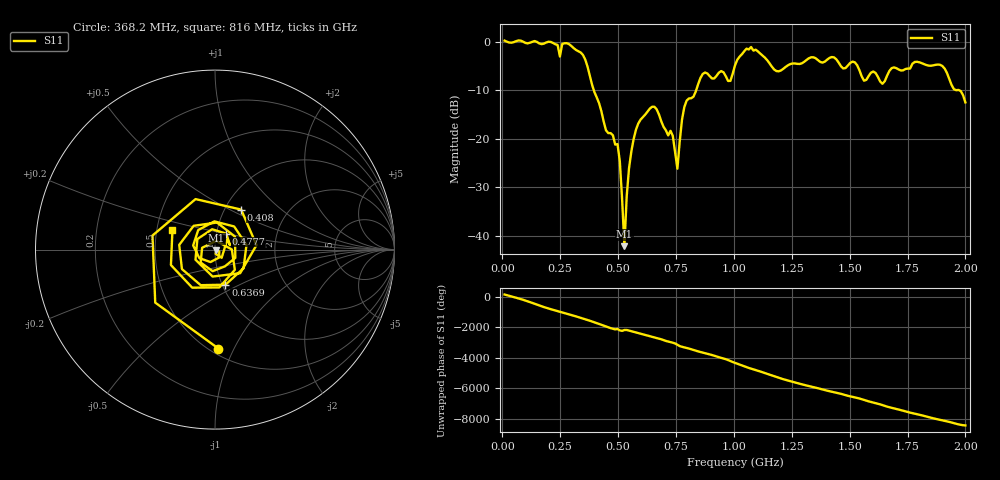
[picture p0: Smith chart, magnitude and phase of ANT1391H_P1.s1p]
!Created with skrf (http://scikit-rf.org).
# Hz S RI R 50.0
!freq ReS11 ImS11
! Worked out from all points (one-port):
!   201 points, 10 MHz to 2 GHz, reference 50 ohm
!   lowest |S11| = -42.1 dB at 527.4 MHz (marker M1), VSWR 1.02, Z = 50.7 - j0.349 ohm
!   |S11| at or under -10 dB: 395.2 MHz to 837.4 MHz (442.2 MHz wide, 71.7 % of centre); 1.973 GHz to end of sweep
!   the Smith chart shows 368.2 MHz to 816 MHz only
!   S11 on the Smith chart (normalised r, x): 368.2 MHz: 0.55, -0.87; 408 MHz: 1.19, +0.57; 477.6 MHz: 1.12, +0.20; 636.9 MHz: 1.04, -0.42; 816 MHz: 0.60, +0.14
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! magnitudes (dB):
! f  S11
! 10 MHz  0.2
! 209 MHz  -0.1
! 248.8 MHz  -3.1
! 258.8 MHz  -0.5
! 368.2 MHz  -5.2
! 408 MHz  -11.5
! 477.6 MHz  -19.3
! 507.5 MHz  -24.6
! 527.4 MHz  -42.1
! 537.4 MHz  -31.8
! 557.2 MHz  -22.6
! 587.1 MHz  -16.9
! 636.9 MHz  -13.8
! 736.4 MHz  -19.4
! 756.2 MHz  -26.1
! 786.1 MHz  -13.5
! 816 MHz  -11.6
! 865.7 MHz  -6.7
! 985.1 MHz  -8.1
! 1.005 GHz  -4.9
! 1.075 GHz  -1.1
! 1.184 GHz  -6.1
! 1.254 GHz  -4.5
! 1.502 GHz  -4.4
! 1.642 GHz  -8.7
! 1.751 GHz  -5.6
! 1.901 GHz  -5.0
! 2 GHz  -12.5
